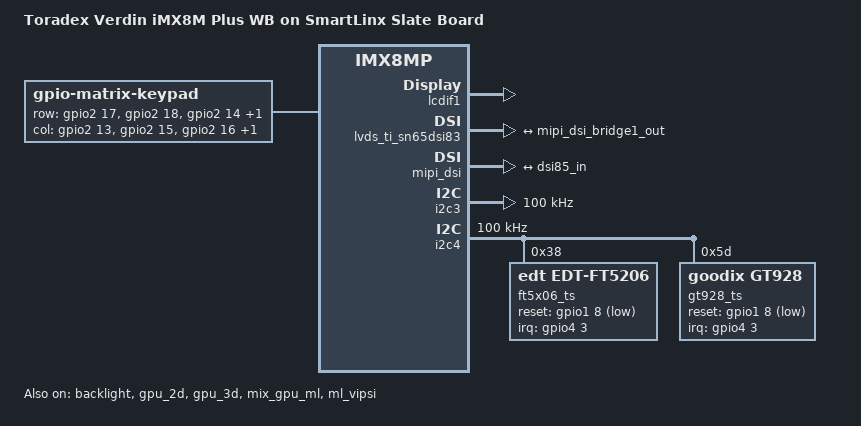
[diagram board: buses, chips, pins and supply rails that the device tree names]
// SPDX-License-Identifier: GPL-2.0+ OR MIT
/*
 * Copyright 2020 Toradex
 */

/dts-v1/;

#include "imx8mp-verdin-wifi-dahlia.dts"

/ {
	model = "Toradex Verdin iMX8M Plus WB on SmartLinx Slate Board";
	compatible = "toradex,verdin-imx8mp-wifi-slate",
		     "toradex,verdin-imx8mp-wifi",
		     "toradex,verdin-imx8mp",
		     "fsl,imx8mp";

	matrix-keypad {
		status = "okay";
		compatible = "gpio-matrix-keypad";
		debounce-delay-ms = <10>;
		col-scan-delay-us = <10>;
		drive-inactive-cols;
		pinctrl-names = "default";
		pinctrl-0 = <&pinctrl_matrix>;

		row-gpios = <
			&gpio2 17 0
			&gpio2 18 0
			&gpio2 14 0
			&gpio4 22 0
		>;

		col-gpios = <
			&gpio2 13 0
			&gpio2 15 0
			&gpio2 16 0
			&gpio2 12 0
		>;

		linux,keymap = <
			// col0 row0 KEY_A
			0x0000001e
			// col0 row1 KEY_B
			0x01000030
			// col0 row2 KEY_C
			0x0200002e
			// col0 row3 KEY_D
			0x03000020
			// col1 row0 KEY_1
			0x00010002
			// col1 row1 KEY_4
			0x01010005
			// col1 row2 KEY_7
			0x02010008
			// col1 row3 KEY_BACKSPACE
			0x0301000e
			// col2 row0 KEY_2
			0x00020003
			// col2 row1 KEY_5
			0x01020006
			// col2 row2 KEY_8
			0x02020009
			// col2 row3 KEY_0
			0x0302000b
			// col3 row0 KEY_3
			0x00030004
			// col3 row1 KEY_6
			0x01030007
			// col3 row2 KEY_9
			0x0203000a
			// col3 row3 KEY_ENTER
			0x0303001c
		>;
	};
};

&backlight {
	status = "okay";
	brightness-levels = < 0  1  2  3  4  5  6  7  8  9
                             10 11 12 13 14 15 16 17 18 19
                             20 21 22 23 24 25 26 27 28 29
                             30 31 32 33 34 35 36 37 38 39
                             40 41 42 43 44 45 46 47 48 49
                             50 51 52 53 54 55 56 57 58 59
                             60 61 62 63 64 65 66 67 68 69
                             70 71 72 73 74 75 76 77 78 79
                             80 81 82 83 84 85 86 87 88 89
                             90 91 92 93 94 95 96 97 98 99
                             100>;
	default-brightness-level = <80>;
	pwms = <&pwm1 0 6666667 0>;
};

&gpu_2d {
	status = "okay";
};

&gpu_3d {
	status = "okay";
};

/* LCDIF to MIPI-DSI */
&lcdif1 {
	status = "okay";
};

&lvds_ti_sn65dsi83 {
	status = "okay";
	ti,dsi-lanes = <4>;
	ti,height-mm = <136>;
	ti,lvds-bpp = <24>;
	ti,lvds-format = <2>;
	ti,width-mm = <217>;

	port {
		dsi85_in: endpoint {
			remote-endpoint = <&mipi_dsi_bridge1_out>;
		};
	};

	display-timings {
		native-mode = <&lvds_timing0>;

		lvds_timing0: lt170410_2whc {
			/*
			 * PLL1 is at 2079000000, take PLL1/30
			 * otherwise we don't get a picture on NXP i.MX 8M Plus
			 */
			clock-frequency = <68900000 71100000 73400000>;
			hactive = <1280 1280 1280>;
			hfront-porch = <23 60 71>;
			hback-porch = <23 60 71>;
			hsync-len = <15 40 47>;
			vactive = <800 800 800>;
			vfront-porch = <5 7 10>;
			vback-porch = <5 7 10>;
			vsync-len = <6 9 12>;
			de-active = <1>;
			pixelclk-active = <1>;
		};
	};
};

&mipi_dsi {
	#address-cells = <1>;
	#size-cells = <0>;
	status = "okay";

	port@1 {
		mipi_dsi_bridge1_out: endpoint {
			remote-endpoint = <&dsi85_in>;
			attach-bridge;
		};
	};
};

&mix_gpu_ml {
	status = "okay";
};

&ml_vipsi {
	status = "okay";
};

&iomuxc {
        pinctrl_ts: ts_grp {
                fsl,pins = <
                        MX8MP_IOMUXC_GPIO1_IO08__GPIO1_IO08             0x16   /* SODIMM 218 */
                        MX8MP_IOMUXC_SAI1_RXD1__GPIO4_IO03              0x16   /* SODIMM 220 */
                >;
        };

	pinctrl_matrix: matrix_grp {
		fsl,pins = <
			MX8MP_IOMUXC_SD2_DATA2__GPIO2_IO17      0x1c5   /* SODIMM 70 */
			MX8MP_IOMUXC_SD2_DATA3__GPIO2_IO18      0x1c5   /* SODIMM 72 */
			MX8MP_IOMUXC_SD2_CMD__GPIO2_IO14        0x1c5   /* SODIMM 74 */
			MX8MP_IOMUXC_SAI2_RXC__GPIO4_IO22       0x1c5   /* SODIMM 76 */
			MX8MP_IOMUXC_SD2_CLK__GPIO2_IO13        0x1c5   /* SODIMM 78 */
			MX8MP_IOMUXC_SD2_DATA0__GPIO2_IO15      0x1c5   /* SODIMM 80 */
			MX8MP_IOMUXC_SD2_DATA1__GPIO2_IO16      0x1c5   /* SODIMM 82 */
			MX8MP_IOMUXC_SD2_CD_B__GPIO2_IO12       0x1c5   /* SODIMM 84 */
		>;
	};

	pinctrl_led: led_grp {
		fsl,pins = <
			MX8MP_IOMUXC_ECSPI1_SCLK__GPIO5_IO06    0x4   /* SODIMM 196 */
			MX8MP_IOMUXC_ECSPI1_MISO__GPIO5_IO08    0x4   /* SODIMM 198 */
			MX8MP_IOMUXC_ECSPI1_MOSI__GPIO5_IO07    0x4   /* SODIMM 200 */
			MX8MP_IOMUXC_ECSPI1_SS0__GPIO5_IO09     0x4   /* SODIMM 202 */
		>;
	};
};

&i2c3 {
        clock-frequency = <100000>;
};

&i2c4 {
        clock-frequency = <100000>;

        /* Capacitive touch controller */
        ft5x06_ts: ft5x06_ts@38 {
             compatible = "edt,edt-ft5206";
             reg = <0x38>;
             pinctrl-names = "default";
             pinctrl-0 = <&pinctrl_ts>;
             reset-gpios = <&gpio1 8 GPIO_ACTIVE_LOW>;
             interrupt-parent = <&gpio4>;
             interrupts = <3 IRQ_TYPE_EDGE_FALLING>;
             touchscreen-size-x = <1280>;
             touchscreen-size-y = <800>;
             wakeup-source;
             status = "okay";
        };

         gt928_ts: gt928@5d {
	     status = "okay";
             compatible = "goodix,gt928";
             reg = <0x5d>;
             pinctrl-names = "default";
             pinctrl-0 = <&pinctrl_ts>;
             reset-gpios = <&gpio1 8 GPIO_ACTIVE_LOW>;
             interrupt-parent = <&gpio4>;
             interrupts = <3 IRQ_TYPE_EDGE_FALLING>;
             irq-gpios = <&gpio4 3 GPIO_ACTIVE_HIGH>;
             touchscreen-size-x = <1280>;
             touchscreen-size-y = <800>;
             touchscreen-max-w = <512>;
             touchscreen-max-p = <512>;
        };
};
